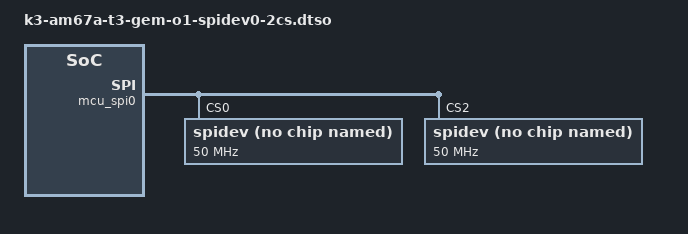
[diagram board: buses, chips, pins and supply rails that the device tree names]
// SPDX-License-Identifier: GPL-2.0
/*
 * DT Overlay to use GPIO8 (CS0) and GPIO7 (CS2) within the expansion header for MCU_SPI0 (spidev0).
 *
 * Copyright (C) 2025 T3 Foundation - https://www.t3vakfi.org/
 */

/dts-v1/;
/plugin/;

#include <dt-bindings/gpio/gpio.h>
#include "k3-pinctrl.h"

/*
 * Helper to show loaded overlays under: /proc/device-tree/chosen/overlays/
 */
&{/chosen} {
	overlays {
		k3-am67a-t3-gem-o1-spidev0-2cs.kernel = __TIMESTAMP__;
	};
};

&mcu_pmx0 {
	spidev0_2cs_pins: spidev0-2cs-pins {
		pinctrl-single,pins = <
			J722S_MCU_IOPAD(0x0000, PIN_OUTPUT, 0) /* (C12) MCU_SPI0_CS0 */
			J722S_MCU_IOPAD(0x0004, PIN_OUTPUT, 0) /* (A10) MCU_SPI0_CS1 */
			J722S_MCU_IOPAD(0x0024, PIN_OUTPUT, 2) /* (B3) MCU_SPI0_CS2 */
			J722S_MCU_IOPAD(0x0034, PIN_OUTPUT, 2) /* (B2) MCU_SPI0_CS3 */
			J722S_MCU_IOPAD(0x0008, PIN_OUTPUT, 0) /* (A9) MCU_SPI0_CLK */
			J722S_MCU_IOPAD(0x000c, PIN_OUTPUT, 0) /* (B12) MCU_SPI0_D0 */
			J722S_MCU_IOPAD(0x0010, PIN_INPUT, 0)  /* (C11) MCU_SPI0_D1 */
			J722S_MCU_IOPAD(0x0030, PIN_OUTPUT, 7) /* (C3) WKUP_UART0_RTSn.MCU_GPIO0_12 */
		>;
		bootph-all;
	};
};

&mcu_spi0 {
	pinctrl-0 = <&spidev0_2cs_pins>;

	// Need these lines to get rid of dtc warnings
	#address-cells = <1>;
	#size-cells = <0>;

	spidev@0 {
		spi-max-frequency = <50000000>;
		reg = <0>;
		compatible = "rohm,dh2228fv";
	};

	spidev@2 {
		spi-max-frequency = <50000000>;
		reg = <2>;
		compatible = "rohm,dh2228fv";
	};
};
